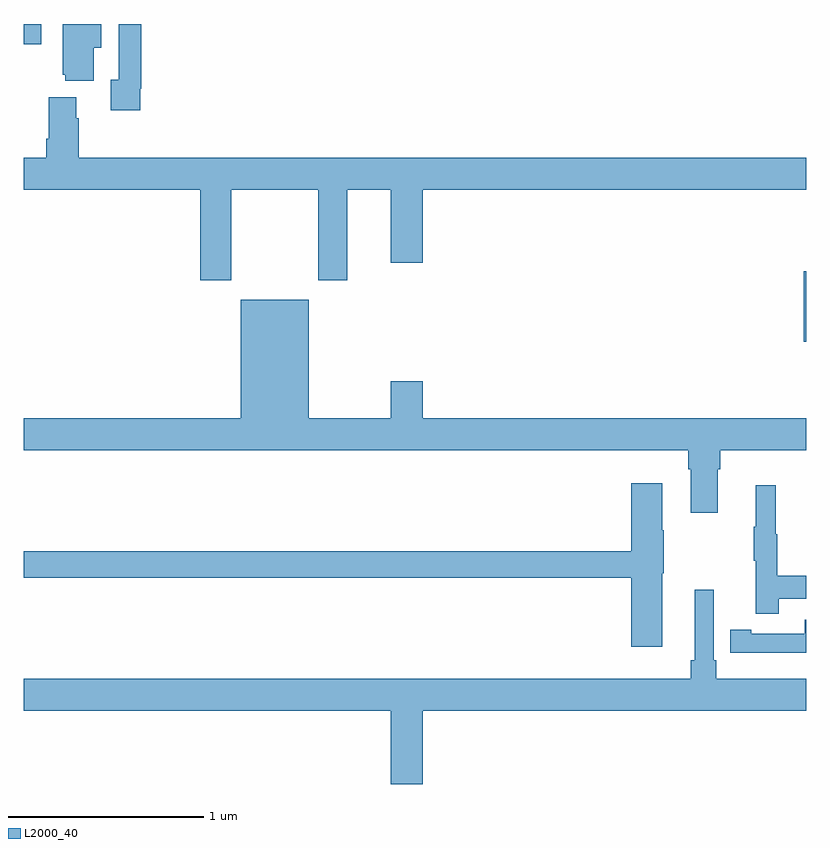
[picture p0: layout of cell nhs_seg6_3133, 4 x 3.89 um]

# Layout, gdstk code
import gdstk
lib = gdstk.Library(unit=1e-6, precision=1e-09)
def R(c, l, rs):  # rectangles x0, y0, x1, y1
    for r in rs: c.add(gdstk.rectangle(r[:2], r[2:], *l))
def P(c, l, *ps):  # polygons
    for p in ps: c.add(gdstk.Polygon(p, *l))
L2000_40 = (2000, 40)

nhs_seg6_3133 = lib.new_cell('nhs_seg6_3133')
R(nhs_seg6_3133, L2000_40, [(298.988,963.875,299,964.236), (295,965.397,295.089,965.5)])
P(nhs_seg6_3133, L2000_40, [(295.357,965.378),(295.396,965.378),(295.396,965.5),(295.199,965.5),(295.199,965.241),(295.211,965.241),(295.211,965.21),(295.357,965.21)],
  [(295.594,965.17),(295.601,965.17),(295.601,965.5),(295.485,965.5),(295.485,965.214),(295.445,965.214),(295.445,965.058),(295.594,965.058)],
  [(296.061,964.652),(296.506,964.652),(296.506,964.191),(296.653,964.191),(296.653,964.652),(296.876,964.652),(296.876,964.278),(297.04,964.278),(297.04,964.652),(299,964.652),(299,964.816),(295.28,964.816),(295.28,965.018),(295.267,965.018),(295.267,965.125),(295.127,965.125),(295.127,964.912),(295.115,964.912),(295.115,964.816),(295,964.816),(295,964.652),(295.901,964.652),(295.901,964.191),(296.061,964.191)],
  [(298.549,963.224),(298.562,963.224),(298.562,963.32),(299,963.32),(299,963.484),(297.04,963.484),(297.04,963.673),(296.876,963.673),(296.876,963.484),(296.458,963.484),(296.458,964.09),(296.108,964.09),(296.108,963.484),(295,963.484),(295,963.32),(298.397,963.32),(298.397,963.224),(298.409,963.224),(298.409,963),(298.549,963)],
  [(298.264,962.691),(298.272,962.691),(298.272,962.912),(298.264,962.912),(298.264,963.151),(298.106,963.151),(298.106,962.804),(295,962.804),(295,962.668),(298.106,962.668),(298.106,962.316),(298.264,962.316)],
  [(298.859,962.562),(299,962.562),(299,962.678),(298.852,962.678),(298.852,962.892),(298.844,962.892),(298.844,963.142),(298.742,963.142),(298.742,962.929),(298.731,962.929),(298.731,962.755),(298.742,962.755),(298.742,962.484),(298.859,962.484)],
  [(297.04,961.988),(299,961.988),(299,962.152),(298.541,962.152),(298.541,962.248),(298.527,962.248),(298.527,962.608),(298.43,962.608),(298.43,962.248),(298.411,962.248),(298.411,962.152),(295,962.152),(295,961.988),(296.876,961.988),(296.876,961.614),(297.04,961.614)],
  [(299,962.454),(298.992,962.454),(298.992,962.382),(298.72,962.382),(298.72,962.402),(298.612,962.402),(298.612,962.286),(298.72,962.286),(298.72,962.285),(299,962.285)])

lib.write_gds('nhs_seg6_3133.gds')
